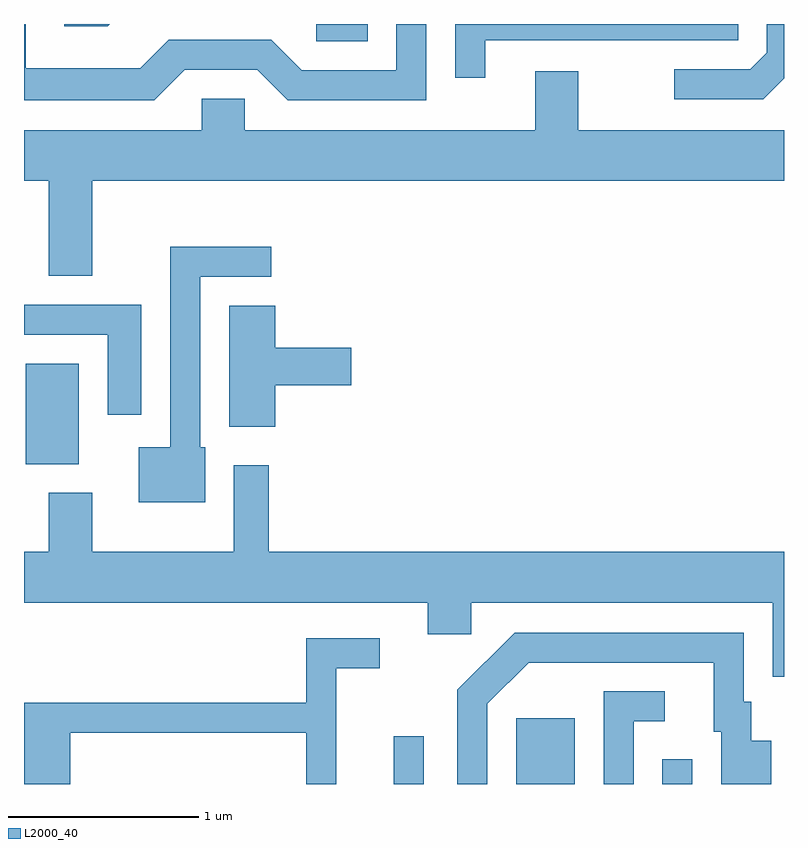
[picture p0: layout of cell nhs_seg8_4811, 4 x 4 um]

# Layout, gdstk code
import gdstk
lib = gdstk.Library(unit=1e-6, precision=1e-09)
def R(c, l, rs):  # rectangles x0, y0, x1, y1
    for r in rs: c.add(gdstk.rectangle(r[:2], r[2:], *l))
def P(c, l, *ps):  # polygons
    for p in ps: c.add(gdstk.Polygon(p, *l))
L2000_40 = (2000, 40)

nhs_seg8_4811 = lib.new_cell('nhs_seg8_4811')
R(nhs_seg8_4811, L2000_40, [(331.556,1844.342,331.714,1844.593), (332.201,1844.342,332.509,1844.689), (332.971,1844.342,333.129,1844.473), (329.621,1846.026,329.899,1846.554), (331.148,1848.251,331.419,1848.342)])
P(nhs_seg8_4811, L2000_40, [(330.457,1848.101),(330.839,1848.101),(330.999,1847.941),(331.729,1847.941),(331.729,1848.342),(331.571,1848.342),(331.571,1848.099),(331.072,1848.099),(330.912,1848.259),(330.374,1848.259),(330.224,1848.109),(329.619,1848.109),(329.619,1848.342),(329.611,1848.342),(329.611,1847.941),(330.297,1847.941)],
  [(332.039,1848.256),(333.369,1848.256),(333.369,1848.342),(331.881,1848.342),(331.881,1848.058),(332.039,1848.058)],
  [(330.063,1848.342),(329.823,1848.342),(329.823,1848.331),(330.052,1848.331)],
  [(333.611,1848.056),(333.611,1848.342),(333.521,1848.342),(333.521,1848.192),(333.434,1848.104),(333.033,1848.104),(333.033,1847.946),(333.502,1847.946)],
  [(329.969,1847.516),(333.611,1847.516),(333.611,1847.784),(332.529,1847.784),(332.529,1848.094),(332.301,1848.094),(332.301,1847.784),(330.774,1847.784),(330.774,1847.949),(330.546,1847.949),(330.546,1847.784),(329.611,1847.784),(329.611,1847.516),(329.741,1847.516),(329.741,1847.016),(329.969,1847.016)],
  [(330.564,1846.114),(330.539,1846.114),(330.539,1847.011),(330.913,1847.011),(330.913,1847.169),(330.381,1847.169),(330.381,1846.114),(330.216,1846.114),(330.216,1845.826),(330.564,1845.826)],
  [(330.229,1846.864),(329.611,1846.864),(329.611,1846.706),(330.051,1846.706),(330.051,1846.286),(330.229,1846.286)],
  [(330.934,1846.441),(331.334,1846.441),(331.334,1846.639),(330.934,1846.639),(330.934,1846.859),(330.691,1846.859),(330.691,1846.221),(330.934,1846.221)],
  [(333.611,1845.564),(330.899,1845.564),(330.899,1846.019),(330.716,1846.019),(330.716,1845.564),(329.969,1845.564),(329.969,1845.874),(329.741,1845.874),(329.741,1845.564),(329.611,1845.564),(329.611,1845.296),(331.736,1845.296),(331.736,1845.131),(331.964,1845.131),(331.964,1845.296),(333.551,1845.296),(333.551,1844.906),(333.611,1844.906)],
  [(332.049,1844.764),(332.267,1844.981),(333.241,1844.981),(333.241,1844.616),(333.281,1844.616),(333.281,1844.342),(333.544,1844.342),(333.544,1844.569),(333.439,1844.569),(333.439,1844.774),(333.399,1844.774),(333.399,1845.139),(332.194,1845.139),(331.891,1844.837),(331.891,1844.342),(332.049,1844.342)],
  [(329.854,1844.611),(331.096,1844.611),(331.096,1844.342),(331.254,1844.342),(331.254,1844.951),(331.483,1844.951),(331.483,1845.109),(331.096,1845.109),(331.096,1844.769),(329.611,1844.769),(329.611,1844.342),(329.854,1844.342)],
  [(332.819,1844.671),(332.983,1844.671),(332.983,1844.829),(332.661,1844.829),(332.661,1844.342),(332.819,1844.342)])

lib.write_gds('nhs_seg8_4811.gds')
